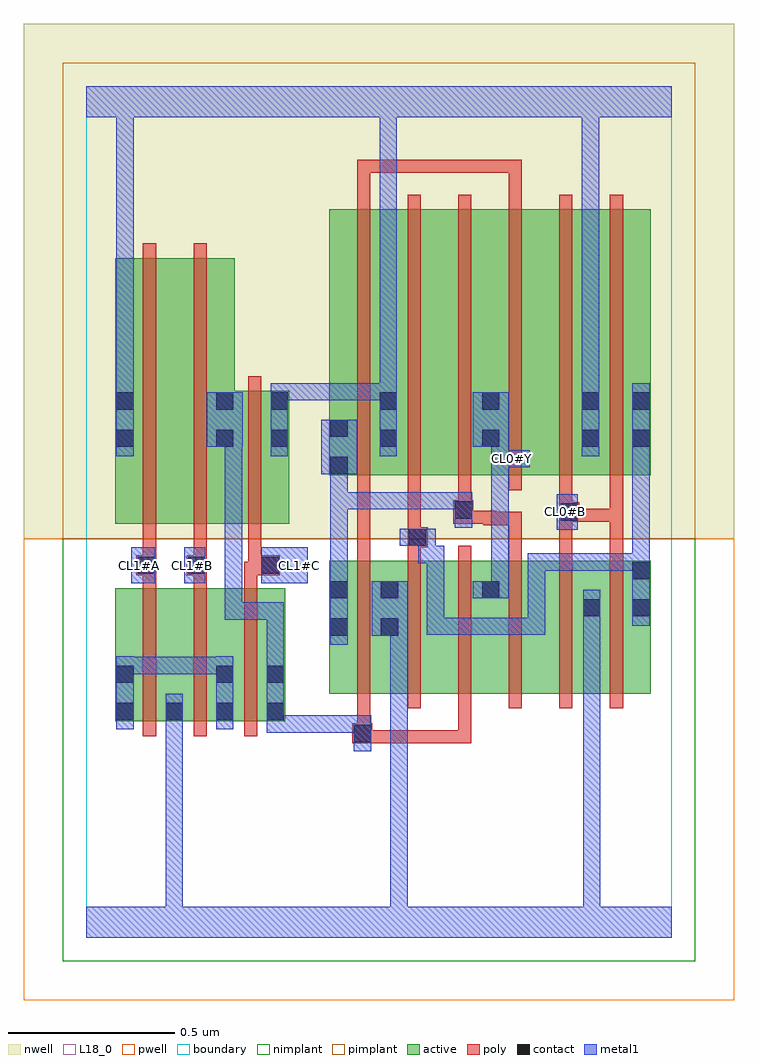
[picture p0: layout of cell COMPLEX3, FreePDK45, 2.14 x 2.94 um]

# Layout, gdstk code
import gdstk
lib = gdstk.Library(unit=1e-6, precision=1e-09)
def R(c, l, rs):  # rectangles x0, y0, x1, y1
    for r in rs: c.add(gdstk.rectangle(r[:2], r[2:], *l))
def A(c, l, x, y, w, h, nx, ny, dx, dy):  # array of equal rectangles
    R(c, l, [(x+i*dx, y+j*dy, x+i*dx+w, y+j*dy+h) for i in range(nx) for j in range(ny)])
active = (1, 0)
pwell = (2, 0)
nwell = (3, 0)
nimplant = (4, 0)
pimplant = (5, 0)
poly = (9, 0)
contact = (10, 0)
metal1 = (11, 0)
L18_0 = (18, 0)
boundary = (235, 0)

complex3 = lib.new_cell('COMPLEX3')
R(complex3, active, [(0.086,0.65,0.294,1.05), (0.086,0.65,0.146,1.05), (0.234,0.65,0.446,1.05), (0.234,0.65,0.294,0.71), (0.386,0.65,0.446,1.05), (0.386,0.65,0.598,1.05), (0.538,0.65,0.598,1.05), (0.73,0.734,0.79,1.134), (0.73,0.734,0.942,1.134), (0.882,0.734,1.062,1.134), (0.882,0.734,0.942,1.134), (1.062,0.734,1.246,1.134), (1.186,0.734,1.366,1.134), (1.186,0.734,1.246,1.134), (1.366,0.734,1.55,1.134), (1.49,0.734,1.698,1.134), (1.49,0.734,1.55,1.034), (1.638,0.756,1.698,1.134), (0.086,1.244,0.266,2.044), (0.086,1.244,0.146,2.044), (0.266,1.244,0.446,2.044), (0.386,1.244,0.61,1.644), (0.386,1.244,0.446,1.704), (0.55,1.244,0.61,1.644), (0.73,1.39,0.79,2.044), (0.73,1.39,0.938,2.19), (0.878,1.39,0.938,2.044), (0.878,1.39,1.062,2.19), (1.062,1.39,1.246,2.19), (1.186,1.39,1.246,2.044), (1.186,1.39,1.366,2.19), (1.366,1.39,1.546,2.19), (1.486,1.39,1.546,2.044), (1.486,1.39,1.698,2.19), (1.638,1.39,1.698,2.044)])
R(complex3, pwell, [(-0.188,-0.188,1.948,1.2)])
R(complex3, nwell, [(-0.188,1.2,1.948,2.748)])
R(complex3, nimplant, [(-0.072,-0.072,1.832,1.2)])
R(complex3, pimplant, [(-0.072,1.2,1.832,2.632)])
A(complex3, poly, 0.17, 0.606, 0.04, 0.488, 3, 1, 0.152, 0)
A(complex3, poly, 0.814, 0.69, 0.04, 0.488, 6, 1, 0.152, 0)
A(complex3, poly, 0.17, 1.054, 0.04, 0.076, 3, 1, 0.152, 0)
A(complex3, poly, 0.814, 1.346, 0.04, 0.888, 6, 1, 0.152, 0)
R(complex3, poly, [(0.8,0.584,0.86,0.644), (0.82,0.584,0.86,0.624), (0.82,0.584,0.86,0.624), (0.82,0.584,0.966,0.624), (0.926,0.584,0.966,0.624), (0.926,0.584,0.966,0.624), (0.926,0.584,0.966,0.624), (0.926,0.584,1.158,0.624), (1.118,0.584,1.158,0.624), (1.118,0.584,1.158,0.73), (0.814,0.604,0.854,0.73), (0.15,1.09,0.21,1.15), (0.17,1.09,0.21,1.13), (0.17,1.09,0.21,1.13), (0.302,1.09,0.362,1.15), (0.322,1.09,0.362,1.13), (0.322,1.09,0.362,1.13), (0.474,1.09,0.526,1.13), (0.486,1.09,0.526,1.13), (0.486,1.09,0.582,1.15), (0.17,1.11,0.21,1.24), (0.322,1.11,0.362,1.24), (0.486,1.11,0.526,1.24), (0.814,1.138,0.854,1.35), (0.966,1.138,1.006,1.214), (1.27,1.138,1.31,1.28), (1.422,1.138,1.462,1.29), (1.574,1.138,1.614,1.29), (0.966,1.174,1.026,1.234), (0.966,1.194,1.006,1.234), (0.966,1.194,1.006,1.234), (0.966,1.194,1.006,1.386), (0.17,1.2,0.21,2.088), (0.322,1.2,0.362,2.088), (0.486,1.2,0.526,1.688), (1.194,1.24,1.31,1.28), (1.194,1.24,1.234,1.284), (1.27,1.24,1.31,1.28), (1.27,1.24,1.31,1.28), (1.27,1.24,1.31,1.28), (1.104,1.244,1.164,1.316), (1.124,1.244,1.234,1.284), (1.422,1.25,1.482,1.31), (1.442,1.25,1.482,1.29), (1.442,1.25,1.482,1.29), (1.442,1.25,1.614,1.29), (1.574,1.25,1.614,1.386), (1.574,1.25,1.614,1.29), (1.574,1.25,1.614,1.29), (1.574,1.25,1.614,1.29), (1.422,1.27,1.462,1.31), (1.422,1.27,1.462,1.31), (1.422,1.27,1.462,1.386), (1.118,1.276,1.158,1.386), (0.814,1.31,0.854,1.35), (0.814,1.31,0.854,1.35), (0.814,1.31,0.854,1.35), (0.814,1.31,0.854,1.386), (0.814,2.194,0.854,2.34), (1.27,2.194,1.31,2.34), (0.814,2.3,0.854,2.34), (0.814,2.3,0.854,2.34), (0.814,2.3,0.854,2.34), (0.814,2.3,1.038,2.34), (0.998,2.3,1.038,2.34), (0.998,2.3,1.038,2.34), (0.998,2.3,1.038,2.34), (0.998,2.3,1.144,2.34), (1.104,2.3,1.144,2.34), (1.104,2.3,1.31,2.34), (1.27,2.3,1.31,2.34), (1.27,2.3,1.31,2.34), (1.27,2.3,1.31,2.34)])
A(complex3, contact, 0.238, 0.654, 0.052, 0.052, 3, 1, 0.152, 0)
R(complex3, contact, [(0.804,0.588,0.856,0.64), (0.09,0.654,0.142,0.706), (0.09,0.766,0.142,0.818), (0.39,0.766,0.442,0.818), (0.542,0.766,0.594,0.818), (0.734,0.908,0.786,0.96), (0.886,0.908,0.938,0.96), (1.494,0.966,1.546,1.018), (1.642,0.966,1.694,1.018), (0.734,1.02,0.786,1.072), (0.886,1.02,0.938,1.072), (1.19,1.02,1.242,1.072), (1.642,1.078,1.694,1.13), (0.154,1.094,0.206,1.146), (0.306,1.094,0.358,1.146), (0.526,1.094,0.578,1.146), (0.97,1.178,1.022,1.23), (1.426,1.254,1.478,1.306), (1.108,1.26,1.16,1.312), (0.734,1.394,0.786,1.446), (0.09,1.476,0.142,1.528), (0.39,1.476,0.442,1.528), (0.554,1.476,0.606,1.528), (0.882,1.476,0.934,1.528), (1.19,1.476,1.242,1.528), (1.49,1.476,1.542,1.528), (1.642,1.476,1.694,1.528), (0.734,1.506,0.786,1.558), (0.09,1.588,0.142,1.64), (0.39,1.588,0.442,1.64), (0.554,1.588,0.606,1.64), (0.882,1.588,0.934,1.64), (1.19,1.588,1.242,1.64), (1.49,1.588,1.542,1.64), (1.642,1.588,1.694,1.64)])
R(complex3, metal1, [(0,0,1.76,0.092), (0.238,0.04,0.29,0.092), (0.238,0.04,0.29,0.092), (0.238,0.04,0.29,0.092), (0.238,0.04,0.29,0.092), (0.238,0.04,0.29,0.092), (0.238,0.04,0.29,0.092), (0.238,0.04,0.29,0.678), (0.914,0.04,0.966,0.092), (0.914,0.04,0.966,0.092), (0.914,0.04,0.966,0.092), (0.914,0.04,0.966,0.092), (0.914,0.04,0.966,0.092), (0.914,0.04,0.966,0.092), (0.914,0.04,0.966,0.092), (0.914,0.04,0.966,0.092), (0.914,0.04,0.966,0.092), (0.914,0.04,0.966,0.092), (0.914,0.04,0.966,0.092), (0.914,0.04,0.966,0.092), (0.914,0.04,0.966,0.96), (1.494,0.04,1.546,0.092), (1.494,0.04,1.546,0.092), (1.494,0.04,1.546,0.092), (1.494,0.04,1.546,0.092), (1.494,0.04,1.546,0.092), (1.494,0.04,1.546,0.092), (1.494,0.04,1.546,0.092), (1.494,0.04,1.546,0.092), (1.494,0.04,1.546,0.092), (1.494,0.04,1.546,0.092), (1.494,0.04,1.546,0.99), (0.804,0.56,0.856,0.668), (0.542,0.616,0.594,0.668), (0.542,0.616,0.594,0.668), (0.542,0.616,0.594,0.668), (0.542,0.616,0.594,0.668), (0.542,0.616,0.594,0.668), (0.542,0.616,0.594,0.668), (0.542,0.616,0.594,0.668), (0.542,0.616,0.856,0.668), (0.542,0.616,0.594,0.678), (0.09,0.626,0.142,0.846), (0.238,0.626,0.29,0.678), (0.238,0.626,0.29,0.678), (0.238,0.626,0.29,0.678), (0.238,0.626,0.29,0.678), (0.238,0.626,0.29,0.678), (0.238,0.626,0.29,0.678), (0.238,0.626,0.29,0.734), (0.39,0.626,0.442,0.846), (0.542,0.626,0.594,0.678), (0.542,0.626,0.594,0.678), (0.542,0.626,0.594,0.846), (0.09,0.792,0.142,0.844), (0.09,0.792,0.142,0.844), (0.09,0.792,0.304,0.844), (0.252,0.792,0.304,0.844), (0.252,0.792,0.304,0.844), (0.252,0.792,0.304,0.844), (0.252,0.792,0.442,0.844), (0.542,0.794,0.594,1.008), (0.734,0.88,0.786,1.1), (0.858,0.908,0.966,1.072), (1.024,0.91,1.076,0.962), (1.024,0.91,1.246,0.962), (1.024,0.91,1.076,1.178), (1.194,0.91,1.246,0.962), (1.194,0.91,1.246,0.962), (1.194,0.91,1.246,0.962), (1.194,0.91,1.356,0.962), (1.304,0.91,1.356,0.962), (1.304,0.91,1.38,0.962), (1.328,0.91,1.38,0.962), (1.328,0.91,1.38,1.156), (1.494,0.938,1.546,0.99), (1.494,0.938,1.546,0.99), (1.494,0.938,1.546,1.046), (1.642,0.938,1.694,1.158), (0.416,0.956,0.468,1.008), (0.416,0.956,0.468,1.008), (0.416,0.956,0.468,1.008), (0.416,0.956,0.468,1.008), (0.416,0.956,0.468,1.008), (0.416,0.956,0.594,1.008), (0.416,0.956,0.468,1.528), (0.542,0.956,0.594,1.008), (1.162,1.02,1.27,1.072), (1.218,1.02,1.27,1.466), (0.734,1.048,0.786,1.1), (0.734,1.048,0.786,1.1), (0.734,1.048,0.786,1.34), (0.134,1.066,0.206,1.174), (0.294,1.066,0.358,1.174), (0.526,1.066,0.666,1.174), (1.328,1.104,1.38,1.156), (1.328,1.104,1.584,1.156), (1.532,1.104,1.584,1.156), (1.532,1.104,1.584,1.156), (1.532,1.104,1.584,1.156), (1.532,1.104,1.694,1.156), (1.642,1.104,1.694,1.156), (1.642,1.104,1.694,1.156), (1.642,1.106,1.694,1.158), (1.642,1.106,1.694,1.158), (1.642,1.106,1.694,1.5), (0.998,1.126,1.05,1.23), (0.998,1.126,1.076,1.178), (0.942,1.178,1.05,1.23), (0.998,1.178,1.05,1.23), (0.998,1.178,1.05,1.23), (1.414,1.226,1.478,1.334), (1.108,1.232,1.16,1.34), (0.734,1.288,0.786,1.34), (0.734,1.288,0.786,1.34), (0.734,1.288,0.786,1.34), (0.734,1.288,0.94,1.34), (0.734,1.288,0.786,1.446), (0.888,1.288,0.94,1.34), (0.888,1.288,1.05,1.34), (0.998,1.288,1.05,1.34), (0.998,1.288,1.05,1.34), (0.998,1.288,1.05,1.34), (0.998,1.288,1.16,1.34), (0.706,1.394,0.814,1.558), (1.218,1.414,1.27,1.466), (1.218,1.414,1.27,1.466), (1.218,1.414,1.27,1.528), (1.218,1.414,1.334,1.466), (0.09,1.448,0.142,1.668), (0.554,1.448,0.606,1.668), (0.882,1.448,0.934,1.668), (1.49,1.448,1.542,1.668), (1.642,1.448,1.694,1.5), (1.642,1.448,1.694,1.5), (1.642,1.448,1.694,1.668), (0.362,1.476,0.47,1.64), (1.162,1.476,1.27,1.64), (0.09,1.616,0.142,2.52), (0.554,1.616,0.606,1.668), (0.554,1.616,0.606,1.668), (0.554,1.616,0.606,1.668), (0.554,1.616,0.606,1.668), (0.554,1.616,0.606,1.668), (0.554,1.616,0.606,1.668), (0.554,1.616,0.606,1.668), (0.554,1.616,0.606,1.668), (0.554,1.616,0.606,1.668), (0.554,1.616,0.606,1.668), (0.554,1.616,0.776,1.668), (0.724,1.616,0.776,1.668), (0.724,1.616,0.934,1.668), (0.882,1.616,0.934,1.668), (0.882,1.616,0.934,1.668), (0.882,1.616,0.934,1.668), (0.882,1.616,0.934,1.668), (0.882,1.616,0.934,1.668), (0.882,1.616,0.934,1.668), (0.882,1.616,0.934,2.52), (1.49,1.616,1.542,2.52), (0,2.468,1.76,2.56), (0.09,2.468,0.142,2.52), (0.09,2.468,0.142,2.52), (0.09,2.468,0.142,2.52), (0.09,2.468,0.142,2.52), (0.09,2.468,0.142,2.52), (0.09,2.468,0.142,2.52), (0.09,2.468,0.142,2.52), (0.09,2.468,0.142,2.52), (0.882,2.468,0.934,2.52), (0.882,2.468,0.934,2.52), (1.49,2.468,1.542,2.52), (1.49,2.468,1.542,2.52), (1.49,2.468,1.542,2.52), (1.49,2.468,1.542,2.52), (1.49,2.468,1.542,2.52), (1.49,2.468,1.542,2.52), (1.49,2.468,1.542,2.52), (1.49,2.468,1.542,2.52)])
R(complex3, L18_0, [(0,0,1.76,0.092), (0.238,0.04,0.29,0.092), (0.238,0.04,0.29,0.092), (0.238,0.04,0.29,0.092), (0.238,0.04,0.29,0.092), (0.238,0.04,0.29,0.092), (0.238,0.04,0.29,0.092), (0.238,0.04,0.29,0.678), (0.914,0.04,0.966,0.092), (0.914,0.04,0.966,0.092), (0.914,0.04,0.966,0.092), (0.914,0.04,0.966,0.092), (0.914,0.04,0.966,0.092), (0.914,0.04,0.966,0.092), (0.914,0.04,0.966,0.092), (0.914,0.04,0.966,0.092), (0.914,0.04,0.966,0.092), (0.914,0.04,0.966,0.092), (0.914,0.04,0.966,0.092), (0.914,0.04,0.966,0.092), (0.914,0.04,0.966,0.96), (1.494,0.04,1.546,0.092), (1.494,0.04,1.546,0.092), (1.494,0.04,1.546,0.092), (1.494,0.04,1.546,0.092), (1.494,0.04,1.546,0.092), (1.494,0.04,1.546,0.092), (1.494,0.04,1.546,0.092), (1.494,0.04,1.546,0.092), (1.494,0.04,1.546,0.092), (1.494,0.04,1.546,0.092), (1.494,0.04,1.546,0.99), (0.238,0.626,0.29,0.678), (0.238,0.626,0.29,0.678), (0.238,0.626,0.29,0.678), (0.238,0.626,0.29,0.678), (0.238,0.626,0.29,0.678), (0.238,0.626,0.29,0.678), (0.238,0.626,0.29,0.734), (0.858,0.908,0.966,1.072), (1.494,0.938,1.546,0.99), (1.494,0.938,1.546,0.99), (1.494,0.938,1.546,1.046), (1.162,1.02,1.27,1.072), (1.218,1.02,1.27,1.466), (0.134,1.066,0.206,1.174), (0.294,1.066,0.358,1.174), (0.526,1.066,0.666,1.174), (0.134,1.094,0.186,1.146), (0.294,1.094,0.346,1.146), (0.614,1.094,0.666,1.146), (1.414,1.226,1.478,1.334), (1.414,1.254,1.466,1.306), (1.218,1.414,1.27,1.466), (1.218,1.414,1.27,1.466), (1.218,1.414,1.334,1.466), (1.218,1.414,1.27,1.528), (1.254,1.414,1.306,1.466), (0.09,1.448,0.142,1.668), (0.554,1.448,0.606,1.668), (0.882,1.448,0.934,1.668), (1.49,1.448,1.542,1.668), (1.162,1.476,1.27,1.64), (0.09,1.616,0.142,2.52), (0.554,1.616,0.606,1.668), (0.554,1.616,0.606,1.668), (0.554,1.616,0.606,1.668), (0.554,1.616,0.606,1.668), (0.554,1.616,0.606,1.668), (0.554,1.616,0.606,1.668), (0.554,1.616,0.606,1.668), (0.554,1.616,0.606,1.668), (0.554,1.616,0.606,1.668), (0.554,1.616,0.606,1.668), (0.554,1.616,0.776,1.668), (0.724,1.616,0.776,1.668), (0.724,1.616,0.934,1.668), (0.882,1.616,0.934,1.668), (0.882,1.616,0.934,1.668), (0.882,1.616,0.934,1.668), (0.882,1.616,0.934,1.668), (0.882,1.616,0.934,1.668), (0.882,1.616,0.934,1.668), (0.882,1.616,0.934,2.52), (1.49,1.616,1.542,2.52), (0,2.468,1.76,2.56), (0.09,2.468,0.142,2.52), (0.09,2.468,0.142,2.52), (0.09,2.468,0.142,2.52), (0.09,2.468,0.142,2.52), (0.09,2.468,0.142,2.52), (0.09,2.468,0.142,2.52), (0.09,2.468,0.142,2.52), (0.09,2.468,0.142,2.52), (0.882,2.468,0.934,2.52), (0.882,2.468,0.934,2.52), (1.49,2.468,1.542,2.52), (1.49,2.468,1.542,2.52), (1.49,2.468,1.542,2.52), (1.49,2.468,1.542,2.52), (1.49,2.468,1.542,2.52), (1.49,2.468,1.542,2.52), (1.49,2.468,1.542,2.52), (1.49,2.468,1.542,2.52)])
R(complex3, boundary, [(0,0,1.76,2.56)])
complex3.add(gdstk.Label('CL0#B', (1.44,1.28), layer=11, texttype=0))
complex3.add(gdstk.Label('CL0#Y', (1.28,1.44), layer=11, texttype=0))
complex3.add(gdstk.Label('CL1#A', (0.16,1.12), layer=11, texttype=0))
complex3.add(gdstk.Label('CL1#B', (0.32,1.12), layer=11, texttype=0))
complex3.add(gdstk.Label('CL1#C', (0.64,1.12), layer=11, texttype=0))

lib.write_gds('COMPLEX3.gds')
